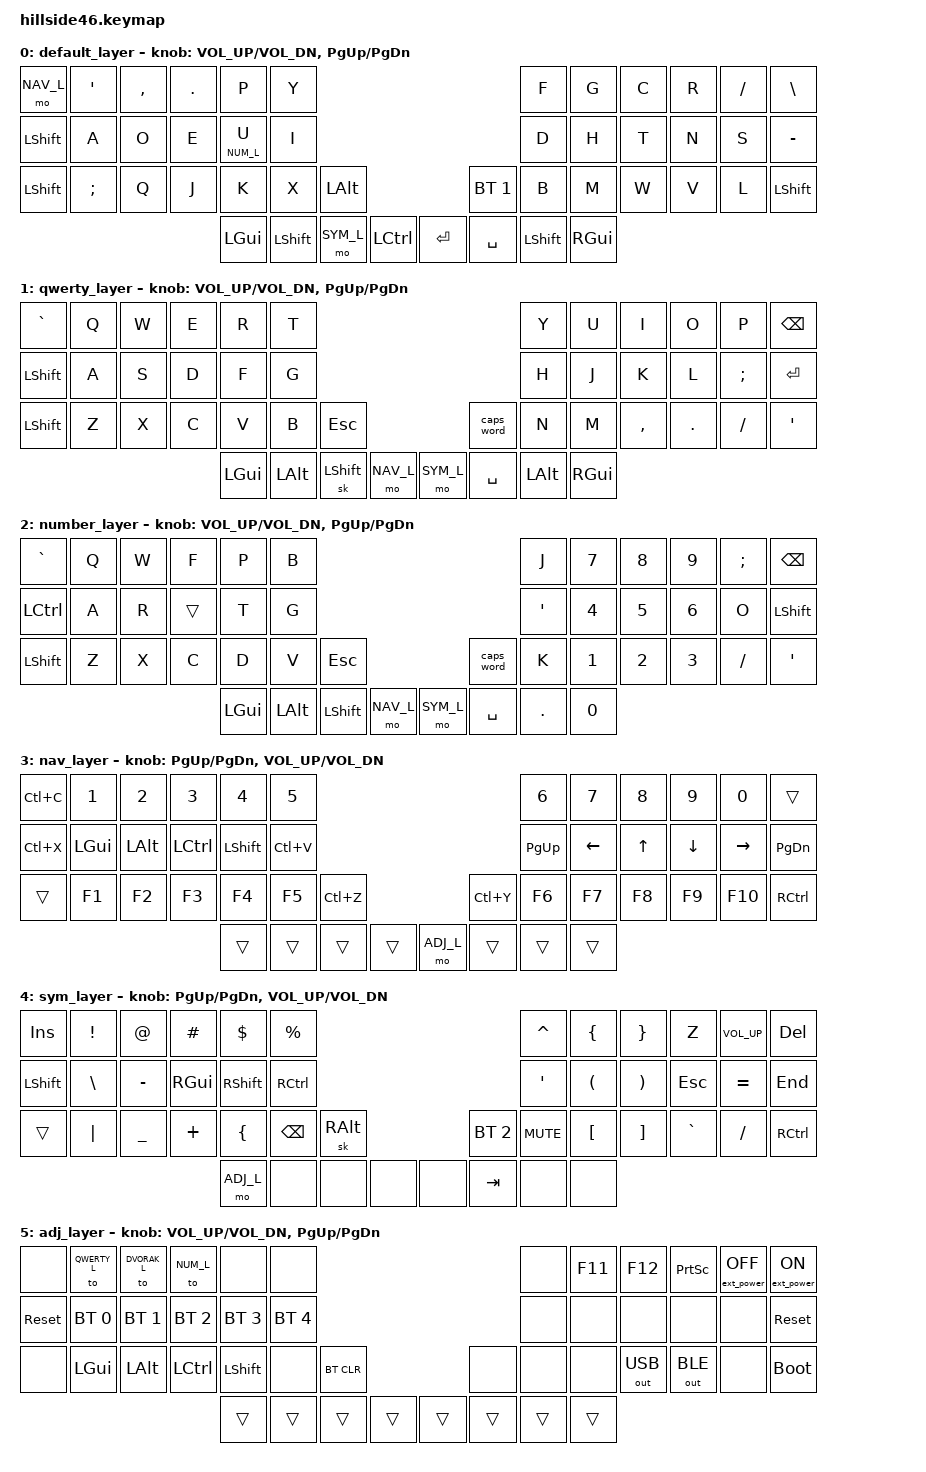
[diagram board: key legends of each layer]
/*
 * Copyright (c) 2021-2022 The ZMK Contributors
 *
 * SPDX-License-Identifier: MIT
 */

#include <behaviors.dtsi>
#include <dt-bindings/zmk/bt.h>
#include <dt-bindings/zmk/ext_power.h>
#include <dt-bindings/zmk/keys.h>
#include <dt-bindings/zmk/outputs.h>

#define DVORAK_L 0
#define QWERTY_L 1
#define NUM_L    2
#define NAV_L    3
#define SYM_L    4
#define ADJ_L    5

#define Undo   LC(Z)
#define Cut    LC(X)
#define Copy   LC(C)
#define Paste  LC(V)
#define Redo   LC(Y)


/ {
        keymap {
                compatible = "zmk,keymap";

                default_layer {
/* DVORAK
 * -------------------------------------------------------------------------------------------------------------------------------------
 * | `     |   '   |   ,   |   .   |   P   |   Y   |-----------------------------------|   F   |   G   |   C   |   R   |   /   | BKSPC |
 * | TAB   |   A   |   O   |   E   | U/NUM |   I   |-----------------------------------|   D   |   H   |   T   |   N   |   S   | SK SHFT |
 * |  Nav  |   ;   |   Q   |   J   |   K   |   X   |  Alt  |-------------------| CAPS  |   B   |   M   |   W   |   V   |   L   |  Vol-  |
 *                                |  GUI  |  ALT  |  Sym  |  CTRL |---|  ALT  | ENTER | SPACE |  GUI  |
 */
                        bindings = <
&mo  NAV_L    &kp SQT      &kp  COMMA    &kp  DOT      &kp  P        &kp  Y                                                                         &kp  F        &kp  G        &kp  C        &kp  R        &kp  SLASH        &kp  BSLH
&kp  LSHIFT    &kp  A        &kp  O        &kp E         &lt NUM_L U      &kp  I                                                                         &kp  D        &kp H        &kp  T        &kp  N        &kp  S        &kp MINUS
&kp  LSHIFT    &kp  SEMI     &kp  Q        &kp  J        &kp  K        &kp  X        &kp  LALT                                           &bt BT_SEL 1    &kp  B      &kp  M        &kp  W        &kp  V        &kp  L        &kp  LSHIFT
                                                        &kp  LGUI      &kp  LSHIFT    &mo  SYM_L    &kp LCTRL            &kp  ENTER    &kp  SPACE    &kp  LSHIFT    &kp  RGUI
                        >;
			
                        sensor-bindings = <&inc_dec_kp C_VOL_UP C_VOL_DN &inc_dec_kp PG_UP PG_DN>;
                };
		
                qwerty_layer {
/* QWERTY
 * -------------------------------------------------------------------------------------------------------------------------------------
 * | `     |   Q   |   W   |   E   |   R   |   T   |-----------------------------------|   Y   |   U   |   I   |   O   |   P   | BKSPC |
 * | TAB   |   A   |   S   |   D   |   F   |   G   |-----------------------------------|   H   |   J   |   K   |   L   |   ;   | ENTER |
 * | CTRL  |   Z   |   X   |   C   |   V   |   B   |  ESC  |-------------------|  CAPS |   N   |   M   |   ,   |   .   |   /   |   '   |
 *                                 |  GUI  |  ALT  |SK SHFT|  Nav  |---|  Sym  | SPACE |  ALT  |  GUI  |
 */
                        bindings = <
&kp  GRAVE    &kp  Q        &kp  W        &kp  E        &kp  R        &kp  T                                                                         &kp  Y        &kp  U        &kp  I        &kp  O        &kp  P        &kp  BSPC
&kp  LSHIFT      &kp  A        &kp  S        &kp  D        &kp  F        &kp  G                                                                         &kp  H        &kp  J        &kp  K        &kp  L        &kp  SEMI     &kp  ENTER  
&kp  LSHIFT    &kp  Z        &kp  X        &kp  C        &kp  V        &kp  B        &kp  ESC                                           &caps_word    &kp  N        &kp  M        &kp  COMMA    &kp  DOT      &kp  SLASH    &kp  SQT
                                                        &kp  LGUI     &kp  LALT     &sk  LSHIFT    &mo  NAV_L            &mo  SYM_L    &kp  SPACE    &kp  LALT     &kp  RGUI
                        >;
			
                        sensor-bindings = <&inc_dec_kp C_VOL_UP C_VOL_DN &inc_dec_kp PG_UP PG_DN>;
                };
		
                number_layer {
/* NUMBER
 * -------------------------------------------------------------------------------------------------------------------------------------
 * | `     |   Q   |   W   |   F   |   P   |   B   |-----------------------------------|   J   |   7   |   8   |   9   |   ;   | BKSPC |
 * | CTRL   |   A   |   R   |   S   |   T   |   G   |-----------------------------------|   '   |   4   |   5   |   6   |   O   | ENTER |
 * | SHIFT  |   Z   |   X   |   C   |   D   |   V   |  ESC  |-------------------| CAPS  |   K   |   1   |   2   |   3   |   /   |   '   |
 *                                 |  GUI  |  ALT  |SK SHFT|  Nav  |---|  Sym  | SPACE |   .   |   0  |
 */
                        bindings = <
&kp  GRAVE    &kp  Q        &kp  W        &kp  F        &kp  P        &kp  B                                                                         &kp  J        &kp  N7        &kp  N8       &kp  N9        &kp  SEMI     &kp  BSPC
&kp  LCTRL      &kp  A        &kp  R        &trans        &kp  T        &kp  G                                                                         &kp  SQT        &kp  N4        &kp  N5        &kp  N6        &kp  O        &kp  LSHIFT
&kp  LSHIFT    &kp  Z        &kp  X        &kp  C        &kp  D        &kp  V        &kp   ESC                                          &caps_word    &kp  K        &kp  N1        &kp  N2    &kp  N3      &kp  SLASH    &kp  SQT
                                                        &kp  LGUI     &kp  LALT     &kp  LSHIFT    &mo  NAV_L            &mo  SYM_L    &kp  SPACE    &kp  DOT     &kp N0 
                        >;
			
                        sensor-bindings = <&inc_dec_kp C_VOL_UP C_VOL_DN &inc_dec_kp PG_UP PG_DN>;
                };
		
                nav_layer {
/* NAV   
 * -------------------------------------------------------------------------------------------------------------------------------------
 * | Copy  |   1   |   2   |   3   |   4   |   5   |-----------------------------------|   6   |   7   |   8   |   9   |   0   | BSPC  |
 * | Cut   |  GUI  |  Alt  | Ctrl  | Shift | Paste |-----------------------------------| PG UP |  Left |  Up   |  Down | Right | PG DN |
 * | Ctrl  |  F1   |  F2   |  F3   |  F4   |  F5   |  UnDo |-------------------| ReDo  |  F6   |  F7   |  F8   |  F9   |  F10  | Ctrl  |
 *                                 |       |       |       |       |---| ADJ_L |       |       |       |
 */
                        bindings = <
&kp  Copy     &kp  N1       &kp  N2       &kp  N3       &kp  N4       &kp  N5                                                                        &kp   N6      &kp   N7      &kp   N8      &kp   N9      &kp  N0       &trans
&kp  Cut      &kp  LGUI     &kp  LALT     &kp  LCTRL    &kp  LSHFT    &kp  Paste                                                                     &kp   PG_UP   &kp  LEFT    &kp   UP      &kp   DOWN    &kp  RIGHT    &kp PG_DN
&trans        &kp  F1       &kp  F2       &kp  F3       &kp  F4       &kp  F5       &kp Undo                                           &kp  Redo     &kp   F6      &kp  F7      &kp   F8      &kp   F9      &kp  F10      &kp RCTRL
                                                        &trans        &trans        &trans        &trans                 &mo ADJ_L     &trans        &trans        &trans 
                        >;
			
                        sensor-bindings = <&inc_dec_kp PG_UP PG_DN &inc_dec_kp C_VOL_UP C_VOL_DN>;
                };

                sym_layer {
/* SYM
 * -------------------------------------------------------------------------------------------------------------------------------------
 * | INS   |   !   |   @   |   #   |   $   |   %   |-----------------------------------|   ^   |   {   |   }   | Z   | Vol+  | BSPC  |
 * |       |   \   |   -   |  Gua  | Shift | Ctrl  |-----------------------------------|   '   |   (   |   )   | ESC |   =   | END   |
 * | Ctrl  |   |   |   _   |   +   |   {   | BSPC  |SkAltGr|-------------------| BTSEL2 | Mute  |   [   |   ]   | `   |   /   | Ctrl  |
 *                                 | ADJ_L |       |       |       |---|      |       | TAB   |       |
 */
                        bindings = <
&kp  INS      &kp  EXCL     &kp  AT       &kp  HASH     &kp  DOLLAR   &kp  PERCENT                                                                   &kp  CARET    &kp  LBRC     &kp  RBRC    &kp  Z &kp  C_VOL_UP     &kp DEL
&kp LSHIFT      &kp  BSLH     &kp  MINUS    &kp  RGUI    &kp  RSHFT    &kp  RCTRL                                                                      &kp  SQT     &kp  LPAR     &kp  RPAR    &kp  ESC     &kp  EQUAL     &kp END
&trans        &kp  PIPE     &kp  UNDER    &kp  PLUS     &kp  LBRC     &kp  BSPC     &sk  RALT                                          &bt BT_SEL 2     &kp  C_MUTE   &kp  LBKT     &kp  RBKT &kp  GRAVE     &kp  SLASH         &kp RCTRL
                                                        &mo ADJ_L        &none        &none       &none               &none       &kp TAB        &none        &none
                        >;
			
                        sensor-bindings = <&inc_dec_kp PG_UP PG_DN &inc_dec_kp C_VOL_UP C_VOL_DN>;
                };
		
                adj_layer {
/* ADJUST
 * -------------------------------------------------------------------------------------------------------------------------------------
 * |       | QWERTY| DVORAK| COLEMK|       |       |-----------------------------------|       |  F11  |  F12  |Prt Scr|EP_OFF | EP_ON |
 * | RESET | BT 0  | BT 1  | BT 2  | BT 3  | BT 4  |-----------------------------------|       |       |       |       |       | RESET |
 * |       | LGUI  | LALT  | LCTRL | LSHIFT|       |BT CLR |-------------------|       |       |       |OUT_USB|OUT_BLE|       | BOOTL |
 *                                 |       |       |       |       |---|       |       |       |       |
 */
                        bindings = <
&none         &to  QWERTY_L &to  DVORAK_L &to  NUM_L &none         &none                                                                             &none             &kp   F11          &kp   F12  &kp PRINTSCREEN   &ext_power EP_OFF  &ext_power EP_ON
&sys_reset    &bt  BT_SEL 0 &bt  BT_SEL 1 &bt  BT_SEL 2 &bt  BT_SEL 3 &bt  BT_SEL 4                                                                     &none             &none              &none            &none          &none           &sys_reset
&none         &kp  LGUI     &kp  LALT     &kp  LCTRL    &kp LSHIFT    &none         &bt BT_CLR                                         &none            &none             &none              &out  OUT_USB    &out  OUT_BLE  &none           &bootloader
                                                        &trans        &trans        &trans        &trans                 &trans        &trans           &trans            &trans 
                        >;
			
                        sensor-bindings = <&inc_dec_kp C_VOL_UP C_VOL_DN &inc_dec_kp PG_UP PG_DN>;
                };
        };
};
